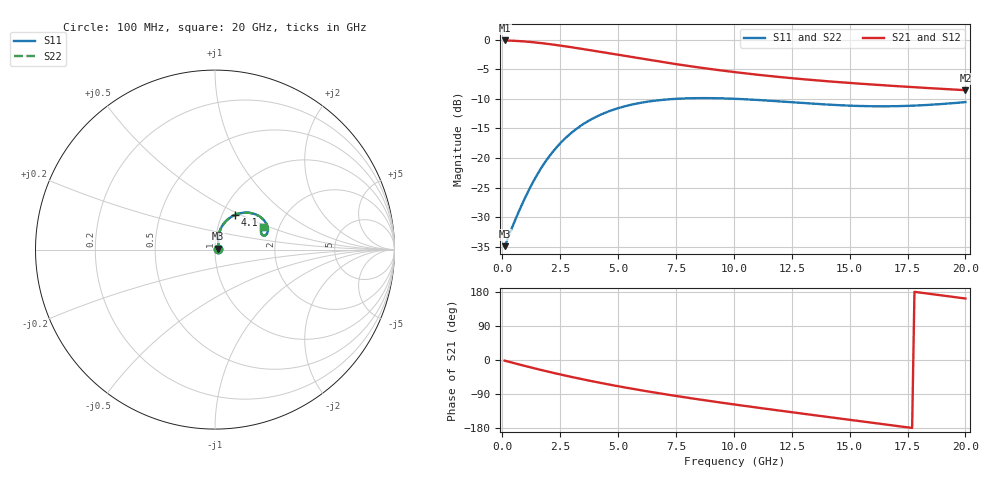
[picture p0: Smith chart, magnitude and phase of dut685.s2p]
! Touchstone file exported from HFSS 2024.1.0
!  File:  C:/UserFiles/LocalFiles/RDL_TSV_Batchsim/temp_RDL_TSV_685_1779817944.aedt
!  Generated:  02:06:45 AM May 27, 2026
!  Design:  RDL_TSV
!  Project:  temp_RDL_TSV_685_1779817944
!  Setup:  Setup1
!  Solution:  Sweep
! Variables:
!  dtsv = 8.56um
!  hbump = 3um
!  htsv = 60.95um
!  ldown = 268.67um
!  lrdl = 551.28um
!  p = 40
!  p1 = 46.36um
!  rhole = 10um
!  subl = 3011.13um
!  t = 450um
!  tdown = 2.64um
!  trdl = 5um
!  viad = 10um
!  wdown = 11.39um
!  wrdl = 21.47um
!  xbump = 18um
# GHz S MA R 50.000000
! Terminal data exported
! Port[1] = TM1_1_T1
! Port[2] = TM1_4_T1
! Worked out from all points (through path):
!   200 points, 100 MHz to 20 GHz, reference 50 ohm
!   highest |S21| = -0.15 dB at 100 MHz (marker M1); lowest = -8.6 dB at 20 GHz (marker M2)
!   group delay of S21, straight-line fit = 25.9 ps
!   lowest |S11| = -34.9 dB at 100 MHz (marker M3), VSWR 1.04, Z = 51.8 + j0.492 ohm
!   |S11| at or under -10 dB: start of sweep to 7.54 GHz; 10.03 GHz to end of sweep
!   |S22| runs from -34.9 to -9.9 dB; largest |S21 - S12| = 2.1e-14
!   S11 on the Smith chart (normalised r, x): 100 MHz: 1.04, +0.01; 4.1 GHz: 1.15, +0.47; 20 GHz: 1.65, +0.46
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0.1  0.01802 15.3  0.9824 -1.7  0.9824 -1.7  0.01802 15.3
! Gamma 0 0 0 0
! Port Impedance 50 0 50 0
0.6  0.03137 54.1  0.9738 -9.7  0.9738 -9.7  0.03137 54.1
1  0.04688 67.7  0.9621 -16.1  0.9621 -16.1  0.04687 67.8
1.3  0.06131 73.0  0.9506 -20.7  0.9506 -20.7  0.06131 73.0
1.7  0.08346 75.7  0.9324 -26.7  0.9324 -26.7  0.08346 75.7
2.1  0.1078 75.5  0.9117 -32.5  0.9117 -32.5  0.1078 75.5
2.5  0.133 73.5  0.8894 -38.1  0.8894 -38.1  0.133 73.6
3  0.1641 69.8  0.8603 -44.8  0.8603 -44.8  0.1641 69.8
3.5  0.1935 65.3  0.8306 -51.3  0.8306 -51.3  0.1935 65.4
4.1  0.225 59.7  0.795 -58.7  0.795 -58.7  0.2251 59.7
4.7  0.2518 54.1  0.7602 -65.8  0.7602 -65.8  0.2519 54.1
5.3  0.2736 48.8  0.7267 -72.5  0.7267 -72.5  0.2736 48.8
6  0.2929 43.1  0.6899 -80.0  0.6899 -80.0  0.293 43.1
6.8  0.308 37.3  0.6511 -88.1  0.6511 -88.1  0.3081 37.3
8.4  0.3203 27.8  0.5846 -103.2  0.5846 -103.2  0.3204 27.9
10.1  0.3158 20.9  0.5291 -118.0  0.5291 -118.0  0.3159 20.9
11.7  0.3032 17.1  0.4887 -131.3  0.4887 -131.3  0.3033 17.2
13.4  0.2877 15.8  0.4552 -145.0  0.4552 -145.0  0.2878 15.9
15  0.2767 17.0  0.4302 -157.8  0.4302 -157.8  0.2767 17.1
16.7  0.2733 19.8  0.4082 -171.4  0.4082 -171.4  0.2734 19.9
18.3  0.28 22.9  0.3905 175.9  0.3905 175.9  0.2802 23.0
20  0.2964 25.2  0.3736 162.3  0.3736 162.3  0.2968 25.4
